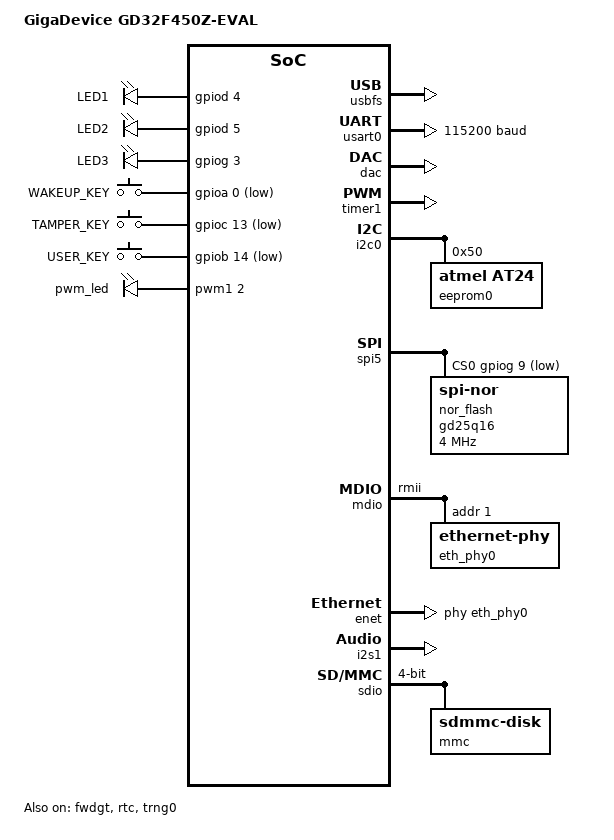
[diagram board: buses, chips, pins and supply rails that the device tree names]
/*
 * Copyright (c) 2022, Rtone.
 * SPDX-License-Identifier: Apache-2.0
 */

/dts-v1/;

#include <gd/gd32f4xx/gd32f450xk.dtsi>
#include "gd32f450z_eval-pinctrl.dtsi"
#include <zephyr/dt-bindings/input/input-event-codes.h>

/ {
	model = "GigaDevice GD32F450Z-EVAL";
	compatible = "gd,gd32f450z-eval";

	chosen {
		zephyr,sram = &sram0;
		zephyr,flash = &flash0;
		zephyr,dtcm = &tcmsram;
		zephyr,console = &usart0;
		zephyr,shell-uart = &usart0;
		zephyr,flash-controller = &fmc;
	};

	leds {
		compatible = "gpio-leds";

		led1: led1 {
			gpios = <&gpiod 4 GPIO_ACTIVE_HIGH>;
			label = "LED1";
		};

		led2: led2 {
			gpios = <&gpiod 5 GPIO_ACTIVE_HIGH>;
			label = "LED2";
		};

		led3: led3 {
			gpios = <&gpiog 3 GPIO_ACTIVE_HIGH>;
			label = "LED3";
		};
	};

	gpio_keys {
		compatible = "gpio-keys";

		wakeup_key: wakeup_key {
			label = "WAKEUP_KEY";
			gpios = <&gpioa 0 GPIO_ACTIVE_LOW>;
			zephyr,code = <INPUT_KEY_WAKEUP>;
		};

		tamper_key: tamper_key {
			label = "TAMPER_KEY";
			gpios = <&gpioc 13 GPIO_ACTIVE_LOW>;
			zephyr,code = <INPUT_KEY_0>;
		};

		user_key: user_key {
			label = "USER_KEY";
			gpios = <&gpiob 14 GPIO_ACTIVE_LOW>;
			zephyr,code = <INPUT_KEY_1>;
		};
	};

	pwmleds {
		compatible = "pwm-leds";

		/* NOTE: bridge TIMER1_CH2 (PB10) and LED1 (PE2) */
		pwm_led: pwm_led {
			pwms = <&pwm1 2 PWM_MSEC(20) PWM_POLARITY_NORMAL>;
		};
	};

	aliases {
		led0 = &led1;
		led1 = &led2;
		sw0 = &user_key;
		pwm-led0 = &pwm_led;
		eeprom-0 = &eeprom0;
		rtc = &rtc;
		watchdog0 = &fwdgt;
	};

};

zephyr_udc0: &usbfs {
	pinctrl-0 = <&usbfs_default>;
	pinctrl-names = "default";
	clocks = <&cctl GD32_CLOCK_USBFS>,
		 <&cctl GD32_CLOCK_IRC48M>,
		 <&cctl GD32_CLOCK_CK48MSEL_IRC48M>;
	status = "okay";
};

&usbhs {
	pinctrl-0 = <&usbhs_ulpi_default>;
	pinctrl-names = "default";
	status = "disabled";
};

&gpioa {
	status = "okay";
};

&gpiob {
	status = "okay";
};

&gpioc {
	status = "okay";
};

&gpiod {
	status = "okay";
};

&gpiog {
	status = "okay";
};

&usart0 {
	status = "okay";
	current-speed = <115200>;
	pinctrl-0 = <&usart0_default>;
	pinctrl-names = "default";
	dmas = <&dma1 2 4 0 0>, <&dma1 7 4 0 0>;
	dma-names = "rx", "tx";
};

&dac {
	status = "okay";
	pinctrl-0 = <&dac_default>;
	pinctrl-names = "default";
};

&timer1 {
	status = "okay";

	pwm1: pwm {
		status = "okay";
		pinctrl-0 = <&pwm1_default>;
		pinctrl-names = "default";
	};
};

&i2c0 {
	status = "okay";
	pinctrl-0 = <&i2c0_default>;
	pinctrl-names = "default";

	eeprom0: eeprom@50 {
		compatible = "atmel,at24";
		reg = <0x50>;
		status = "okay";
		size = <256>;
		pagesize = <8>;
		address-width = <8>;
		timeout = <5>;
	};
};

&spi5 {
	status = "okay";
	pinctrl-0 = <&spi5_default>;
	pinctrl-names = "default";
	cs-gpios = <&gpiog 9 GPIO_ACTIVE_LOW>;

	nor_flash: gd25q16@0 {
		compatible = "jedec,spi-nor";
		size = <0x1000000>;
		reg = <0>;
		spi-max-frequency = <4000000>;
		status = "okay";
		jedec-id = [c8 40 15];
	};
};

&fwdgt {
	status = "okay";
};

&dma1 {
	status = "okay";
};

&rtc {
	status = "okay";
	clock-source = "lxtal";
};

&trng0 {
	status = "okay";
};

&mdio {
	status = "okay";
	pinctrl-0 = <&mdio_default>;
	pinctrl-names = "default";
	gd,phy-clk-out;
	phy-connection-type = "rmii";

	eth_phy0: ethernet-phy@1 {
		compatible = "ethernet-phy";
		reg = <1>;
		no-reset;
		default-speeds = "10BASE Half-Duplex", "10BASE Full-Duplex",
				 "100BASE Half-Duplex", "100BASE Full-Duplex";
	};
};
&enet {
	status = "okay";
	pinctrl-0 = <&enet_default>;
	pinctrl-names = "default";
	gd,phy-clk-out;
	phy-handle = <&eth_phy0>;
};

&dma0 {
	status = "okay";
};

&i2s1 {
	status = "okay";
	pinctrl-0 = <&i2s1_default>;
	pinctrl-names = "default";
	mck-enabled;
	dmas = <&dma0 3 0 0 0>, <&dma0 4 0 0 0>;
	dma-names = "rx", "tx";
};

&sdio {
	status = "okay";
	bus-width = <4>;
	pinctrl-0 = <&sdio_default>;
	pinctrl-1 = <&sdio_slow>;
	pinctrl-2 = <&sdio_fast>;
	pinctrl-names = "default", "slow", "fast";
	/* Use a single DMA channel: DMA1 channel 3, sub-periph slot 4 */
	dmas = <&dma1 3 4 0 0>;

	mmc {
		compatible = "zephyr,sdmmc-disk";
		disk-name = "SD";
		status = "okay";
	};
};


&dma0 {
	status = "okay";
};

&i2s1 {
	status = "okay";
	pinctrl-0 = <&i2s1_default>;
	pinctrl-names = "default";
	mck-enabled;
	dmas = <&dma0 3 0 0 0>, <&dma0 4 0 0 0>;
	dma-names = "rx", "tx";
};
